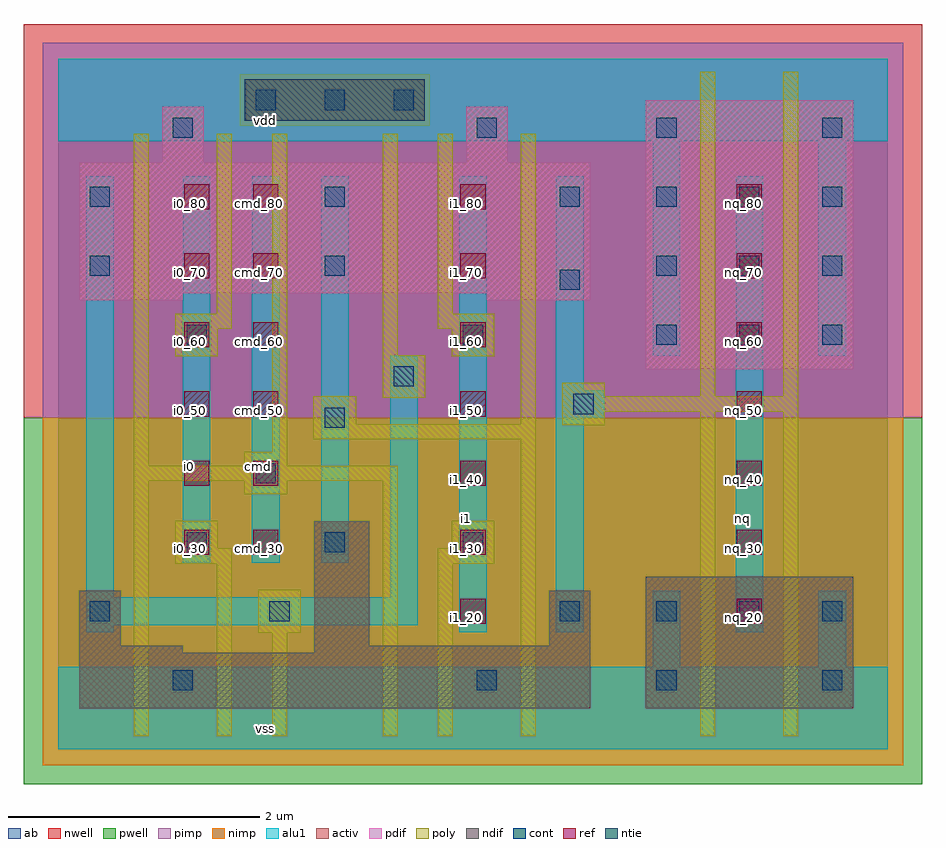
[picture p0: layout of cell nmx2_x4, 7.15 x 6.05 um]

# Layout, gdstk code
import gdstk
lib = gdstk.Library(unit=1e-6, precision=2.5e-09)
def R(c, l, rs):  # rectangles x0, y0, x1, y1
    for r in rs: c.add(gdstk.rectangle(r[:2], r[2:], *l))
def A(c, l, x, y, w, h, nx, ny, dx, dy):  # array of equal rectangles
    R(c, l, [(x+i*dx, y+j*dy, x+i*dx+w, y+j*dy+h) for i in range(nx) for j in range(ny)])
ndif = (3, 0)
pdif = (4, 0)
ntie = (5, 0)
ref = (24, 0)
cont = (25, 0)
pwell = (41, 0)
nwell = (42, 0)
activ = (43, 0)
pimp = (44, 0)
nimp = (45, 0)
poly = (46, 0)
alu1 = (49, 0)
ab = (63, 0)

nmx2_x4 = lib.new_cell('nmx2_x4')
R(nmx2_x4, ndif, [(0.165,0.33,4.235,0.77), (4.675,0.33,6.325,1.375), (0.165,0.77,0.99,0.825), (2.035,0.77,4.235,0.825), (0.165,0.825,0.495,1.265), (2.035,0.825,2.475,1.815), (3.905,0.825,4.235,1.265)])
R(nmx2_x4, pdif, [(4.675,3.025,6.325,5.17), (0.165,3.575,0.99,3.63), (3.41,3.575,4.235,3.63), (0.165,3.63,4.235,4.675), (0.825,4.675,1.155,5.115), (3.245,4.675,3.575,5.115)])
R(nmx2_x4, ntie, [(1.485,5.005,2.915,5.335)])
A(nmx2_x4, ref, 3.2, 1, 0.2, 0.2, 1, 7, 0, 0.55)
A(nmx2_x4, ref, 5.4, 1, 0.2, 0.2, 1, 7, 0, 0.55)
A(nmx2_x4, ref, 1, 1.55, 0.2, 0.2, 1, 6, 0, 0.55)
A(nmx2_x4, ref, 1.55, 1.55, 0.2, 0.2, 1, 6, 0, 0.55)
A(nmx2_x4, cont, 4.76, 1.02, 0.16, 0.16, 3, 2, 0.66, 2.2)
A(nmx2_x4, cont, 1.02, 1.57, 0.16, 0.16, 3, 1, 1.1, 0)
A(nmx2_x4, cont, 4.76, 3.77, 0.16, 0.16, 3, 2, 0.66, 0.55)
A(nmx2_x4, cont, 0.25, 4.32, 0.16, 0.16, 3, 1, 1.87, 0)
A(nmx2_x4, cont, 1.57, 5.09, 0.16, 0.16, 3, 1, 0.55, 0)
R(nmx2_x4, cont, [(0.91,0.47,1.07,0.63), (3.33,0.47,3.49,0.63), (4.76,0.47,4.92,0.63), (6.08,0.47,6.24,0.63), (0.25,1.02,0.41,1.18), (1.68,1.02,1.84,1.18), (3.99,1.02,4.15,1.18), (1.57,2.12,1.73,2.28), (2.12,2.56,2.28,2.72), (4.1,2.67,4.26,2.83), (2.67,2.89,2.83,3.05), (1.02,3.22,1.18,3.38), (3.22,3.22,3.38,3.38), (3.99,3.66,4.15,3.82), (0.25,3.77,0.41,3.93), (2.12,3.77,2.28,3.93), (0.91,4.87,1.07,5.03), (3.33,4.87,3.49,5.03), (4.76,4.87,4.92,5.03), (6.08,4.87,6.24,5.03)])
R(nmx2_x4, pwell, [(-0.275,-0.275,6.875,2.64)])
R(nmx2_x4, nwell, [(-0.275,2.64,6.875,5.775)])
R(nmx2_x4, activ, [(0.165,0.33,4.235,0.77), (4.675,0.33,6.325,1.375), (0.165,0.77,0.99,0.825), (2.035,0.77,4.235,0.825), (0.165,0.825,0.495,1.265), (2.035,0.825,2.475,1.815), (3.905,0.825,4.235,1.265), (4.675,3.025,6.325,5.17), (0.165,3.575,0.99,3.63), (3.41,3.575,4.235,3.63), (0.165,3.63,4.235,4.675), (0.825,4.675,1.155,5.115), (3.245,4.675,3.575,5.115), (1.485,5.005,2.915,5.335)])
R(nmx2_x4, pimp, [(-0.125,2.64,6.725,4.965), (-0.125,4.965,1.445,5.375), (2.955,4.965,6.725,5.375), (-0.125,5.375,6.725,5.625)])
R(nmx2_x4, nimp, [(-0.125,-0.125,6.725,2.64), (1.445,4.965,2.955,5.375)])
R(nmx2_x4, poly, [(0.6,0.105,0.72,2.14), (1.26,0.105,1.38,1.48), (1.7,0.105,1.82,0.93), (2.58,0.105,2.7,2.14), (3.02,0.105,3.14,1.48), (3.68,0.105,3.8,2.47), (5.11,0.105,5.23,2.69), (5.77,0.105,5.89,2.69), (1.59,0.93,1.93,1.27), (0.93,1.48,1.38,1.6), (3.02,1.48,3.47,1.6), (0.93,1.6,1.27,1.82), (3.13,1.6,3.47,1.82), (1.48,2.03,1.82,2.14), (0.6,2.14,2.7,2.26), (0.6,2.26,0.72,4.9), (1.48,2.26,1.82,2.37), (1.7,2.37,1.82,4.9), (2.03,2.47,3.8,2.59), (4.01,2.58,4.35,2.69), (2.03,2.59,2.37,2.81), (3.68,2.59,3.8,4.9), (4.01,2.69,5.89,2.81), (2.58,2.8,2.92,3.14), (4.01,2.81,4.35,2.92), (5.11,2.81,5.23,5.395), (5.77,2.81,5.89,5.395), (0.93,3.13,1.27,3.35), (3.13,3.13,3.47,3.35), (2.58,3.14,2.7,4.9), (0.93,3.35,1.38,3.47), (3.02,3.35,3.47,3.47), (1.26,3.47,1.38,4.9), (3.02,3.47,3.14,4.9)])
A(nmx2_x4, alu1, 0.99, 1.485, 0.22, 3.08, 3, 1, 0.55, 0)
R(nmx2_x4, alu1, [(0,0,6.6,0.66), (4.73,0.66,4.95,1.265), (6.05,0.66,6.27,1.265), (0.22,0.935,0.44,0.99), (3.19,0.935,3.41,4.565), (3.96,0.935,4.18,2.64), (5.39,0.935,5.61,4.565), (0.22,0.99,2.86,1.21), (0.22,1.21,0.44,4.565), (2.64,1.21,2.86,3.135), (3.96,2.64,4.345,2.86), (3.96,2.86,4.18,4.565), (4.73,3.135,4.95,4.84), (6.05,3.135,6.27,4.84), (0,4.84,6.6,5.5)])
R(nmx2_x4, ab, [(0,0,6.6,5.5)])
nmx2_x4.add(gdstk.Label('vss', (1.65,0.165), layer=49, texttype=0))
nmx2_x4.add(gdstk.Label('nq', (5.445,1.8425), layer=49, texttype=0))
nmx2_x4.add(gdstk.Label('i1', (3.245,1.8425), layer=49, texttype=0))
nmx2_x4.add(gdstk.Label('cmd', (1.595,2.255), layer=49, texttype=0))
nmx2_x4.add(gdstk.Label('i0', (1.045,2.255), layer=49, texttype=0))
nmx2_x4.add(gdstk.Label('vdd', (1.65,5.005), layer=49, texttype=0))
nmx2_x4.add(gdstk.Label('i1_80', (3.25,4.35), layer=24, texttype=0))
nmx2_x4.add(gdstk.Label('i1_70', (3.25,3.8), layer=24, texttype=0))
nmx2_x4.add(gdstk.Label('i1_60', (3.25,3.25), layer=24, texttype=0))
nmx2_x4.add(gdstk.Label('i1_50', (3.25,2.7), layer=24, texttype=0))
nmx2_x4.add(gdstk.Label('i1_40', (3.25,2.15), layer=24, texttype=0))
nmx2_x4.add(gdstk.Label('i1_30', (3.25,1.6), layer=24, texttype=0))
nmx2_x4.add(gdstk.Label('i1_20', (3.25,1.05), layer=24, texttype=0))
nmx2_x4.add(gdstk.Label('i0_80', (1.05,4.35), layer=24, texttype=0))
nmx2_x4.add(gdstk.Label('i0_70', (1.05,3.8), layer=24, texttype=0))
nmx2_x4.add(gdstk.Label('i0_60', (1.05,3.25), layer=24, texttype=0))
nmx2_x4.add(gdstk.Label('i0_50', (1.05,2.7), layer=24, texttype=0))
nmx2_x4.add(gdstk.Label('i0_40', (1.05,2.15), layer=24, texttype=0))
nmx2_x4.add(gdstk.Label('i0_30', (1.05,1.6), layer=24, texttype=0))
nmx2_x4.add(gdstk.Label('cmd_80', (1.6,4.35), layer=24, texttype=0))
nmx2_x4.add(gdstk.Label('cmd_70', (1.6,3.8), layer=24, texttype=0))
nmx2_x4.add(gdstk.Label('cmd_60', (1.6,3.25), layer=24, texttype=0))
nmx2_x4.add(gdstk.Label('cmd_50', (1.6,2.7), layer=24, texttype=0))
nmx2_x4.add(gdstk.Label('cmd_40', (1.6,2.15), layer=24, texttype=0))
nmx2_x4.add(gdstk.Label('cmd_30', (1.6,1.6), layer=24, texttype=0))
nmx2_x4.add(gdstk.Label('nq_80', (5.45,4.35), layer=24, texttype=0))
nmx2_x4.add(gdstk.Label('nq_70', (5.45,3.8), layer=24, texttype=0))
nmx2_x4.add(gdstk.Label('nq_50', (5.45,2.7), layer=24, texttype=0))
nmx2_x4.add(gdstk.Label('nq_20', (5.45,1.05), layer=24, texttype=0))
nmx2_x4.add(gdstk.Label('nq_60', (5.45,3.25), layer=24, texttype=0))
nmx2_x4.add(gdstk.Label('nq_40', (5.45,2.15), layer=24, texttype=0))
nmx2_x4.add(gdstk.Label('nq_30', (5.45,1.6), layer=24, texttype=0))

lib.write_gds('nmx2_x4.gds')
